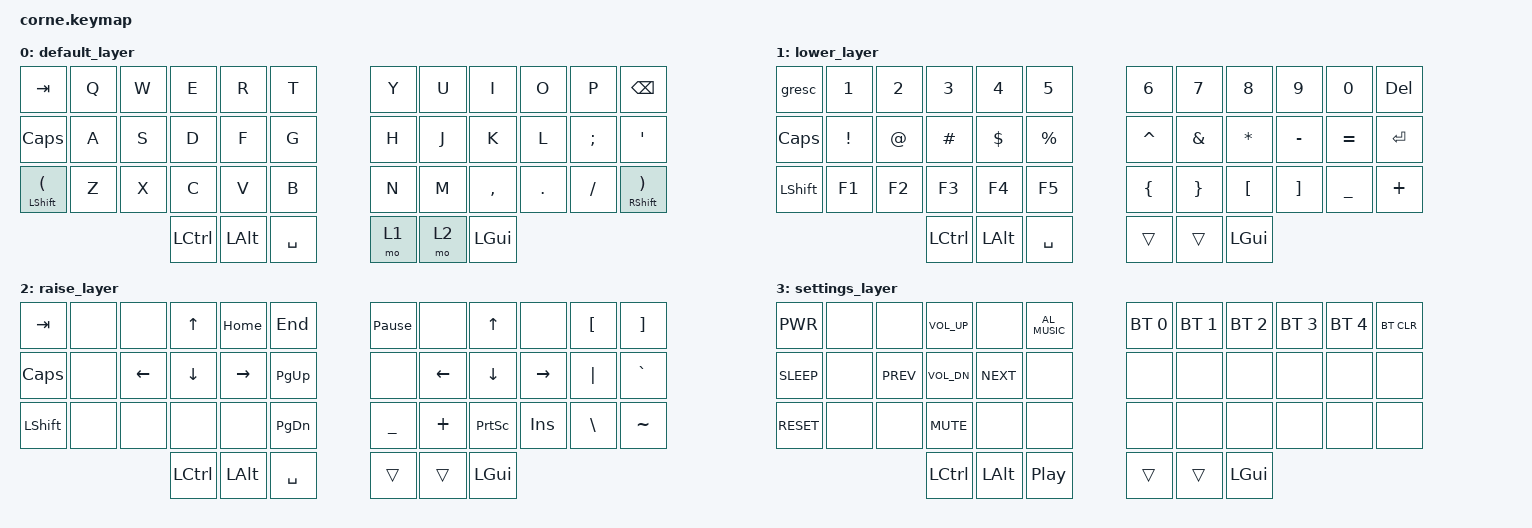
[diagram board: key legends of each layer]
/*
 * Copyright (c) 2020 The ZMK Contributors
 *
 * SPDX-License-Identifier: MIT
 */

#include <behaviors.dtsi>
#include <dt-bindings/zmk/keys.h>
#include <dt-bindings/zmk/bt.h>
/ {
    conditional_layers {
        compatible = "zmk,conditional-layers";
        tri_layer {
            if-layers = <1 2>;
            then-layer = <3>;
        };
    };
};

/ {
        keymap {
                compatible = "zmk,keymap";

                default_layer {
// -----------------------------------------------------------------------------------------
// |  TAB |  Q  |  W  |  E  |  R  |  T  |   |  Y  |  U   |  I  |  O  |  P  | BKSP |
// | CAPS |  A  |  S  |  D  |  F  |  G  |   |  H  |  J   |  K  |  L  |  ;  |  '   |
// | LSPO |  Z  |  X  |  C  |  V  |  B  |   |  N  |  M   |  ,  |  .  |  /  | ESC  |
//                    | CTL | LWR | SPC |   | ENT | RSE  | GUI |
                        bindings = <
   &kp TAB   &kp Q &kp W &kp E &kp R &kp T   &kp Y &kp U  &kp I     &kp O   &kp P    &kp BSPC
   &kp CAPS &kp A &kp S &kp D &kp F &kp G   &kp H &kp J  &kp K     &kp L   &kp SEMI &kp SQT
   &mt LSHFT LPAR &kp Z &kp X &kp C &kp V &kp B   &kp N &kp M  &kp COMMA &kp DOT &kp FSLH &mt RSHFT RPAR
                  &kp LCTRL &kp LALT &kp SPACE   &mo 1 &mo 2 &kp LGUI
                        >;
                };
                lower_layer {
// -----------------------------------------------------------------------------------------
// |  ESC |  1  |  2  |  3  |  4  |  5  |   |  6  |  7  |  8  |  9  |  0  | DEL  |
// | CAPS |  !  |  @  |  #  |  $  |  %  |   |  ^  |  &  |  *  |  -  |  =  | ENT  |
// | SHFT |  F1 |  F2 |  F3 |  F4 |  F5 |   |  {  |  }  |  [  |  ]  |  _  |   +  |
//                    | CTL | ALT | SPC |   |     |     | GUI |
                        bindings = <
   &gresc    &kp N1       &kp N2       &kp N3       &kp N4       &kp N5         &kp N6   &kp N7   &kp N8 &kp N9    &kp N0 &kp DEL
   &kp CAPS &kp EXCL &kp AT &kp HASH &kp DLLR &kp PRCNT   &kp CARET &kp AMPS &kp ASTRK &kp MINUS &kp EQUAL &kp RET
   &kp LSHFT  &kp F1       &kp F2       &kp F3       &kp F4      &kp F5         &kp LBRC   &kp RBRC   &kp LBKT &kp RBKT    &kp UNDER &kp PLUS
                                    &kp LCTRL     &kp LALT       &kp SPACE      &trans  &trans   &kp LGUI
                        >;
                };

                raise_layer {
// -----------------------------------------------------------------------------------------
// |  TAB |  !  |  @  |  #  |  $  |  %  |   |  ^  |  &  |  *  |  (  |  )  | BKSP |
// | CAPS |     |     |     |     |     |   |  -  |  =  |  [  |  ]  |  \  |  `   |
// | SHFT |     |     |     |     |     |   |  _  |  +  |  {  |  }  | "|" |  ~   |
//                    | GUI |     | SPC |   | ENT |     | ALT |
                        bindings = <
   &kp  TAB  &none &none &kp UP &kp HOME &kp END              &kp PAUSE_BREAK &none  &kp UP &none &kp LBKT &kp RBKT
   &kp CAPS  &none &kp LEFT &kp DOWN   &kp RIGHT &kp PG_UP     &none &kp LEFT &kp DOWN &kp RIGHT &kp PIPE &kp GRAVE
   &kp LSHFT &none &none &none &none   &kp PG_DN             &kp UNDER &kp PLUS  &kp PSCRN &kp INS &kp BSLH &kp TILDE
                  &kp LCTRL &kp LALT   &kp SPACE              &trans   &trans &kp LGUI
                        >;
                };

                settings_layer {
// -----------------------------------------------------------------------------------------
// |  TAB |  1  |  2  |  3  |  4  |  5  |   |  6  |  7  |  8  |  9  |  0  | BKSP |
// | BTCLR| BT1 | BT2 | BT3 | BT4 | BT5 |   | LFT | DWN |  UP | RGT |     |      |
// | SHFT |     |     |     |     |     |   |     |     |     |     |     |      |
//                    | GUI |     | SPC |   | ENT |     | ALT |
                        bindings = <
   &kp C_PWR &none &none &kp C_VOL_UP &none &kp C_AL_MUSIC         &bt BT_SEL 0 &bt BT_SEL 1 &bt BT_SEL 2 &bt BT_SEL 3 &bt BT_SEL 4 &bt BT_CLR
   &kp C_SLEEP &none &kp C_PREV &kp C_VOL_DN &kp C_NEXT &none        &none &none &none &none &none &none
   &kp C_RESET &none &none &kp C_MUTE &none &none         &none &none &none &none &none &none
        &kp LCTRL &kp LALT &kp C_PLAY_PAUSE      &trans  &trans   &kp LGUI
                        >;
                };
        };
};
